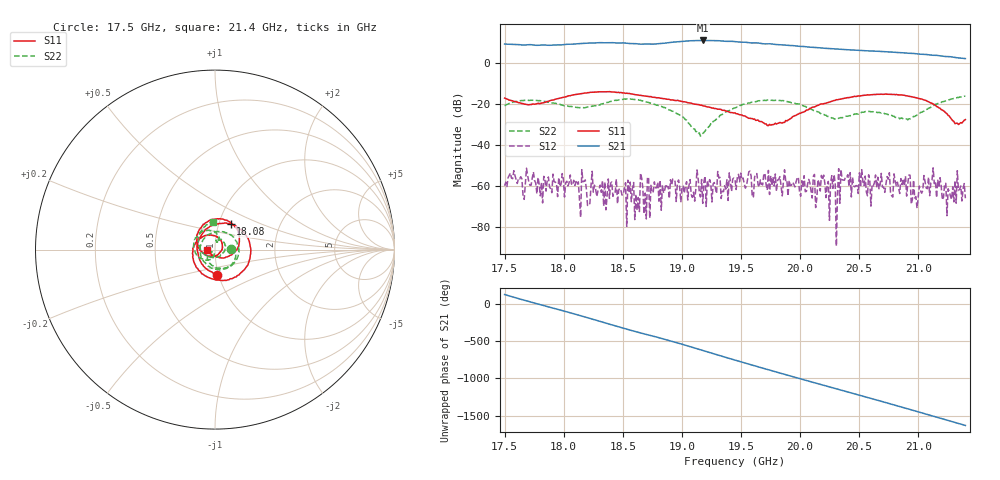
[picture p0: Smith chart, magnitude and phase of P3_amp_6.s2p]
!Created with skrf (http://scikit-rf.org).
# GHz S RI R 50.0
!freq ReS11 ImS11 ReS21 ImS21 ReS12 ImS12 ReS22 ImS22
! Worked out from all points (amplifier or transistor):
!   401 points, 17.5 GHz to 21.4 GHz, reference 50 ohm
!   highest |S21| = 11.0 dB at 19.18 GHz (marker M1)
!   |S21| within 3 dB of that: start of sweep to 20.04 GHz
!   unconditionally stable (mu >= 1): start of sweep to end of sweep
!   at 18.14 GHz: K = 914.88, MAG = 9.7 dB, |S12| = -75.1 dB
!   at 19.45 GHz: K = 99.19, MAG = 10.5 dB, |S12| = -56.5 dB
!   at 21.4 GHz: K = 736.57, MAG = 2.3 dB, |S12| = -65.8 dB
!   S11 on the Smith chart (normalised r, x): 17.5 GHz: 0.99, -0.28; 18.08 GHz: 1.14, +0.33; 21.4 GHz: 0.92, -0.01
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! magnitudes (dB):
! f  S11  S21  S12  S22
! 17.5 GHz  -17.0  9.3  -59.7  -20.8
! 18.08 GHz  -15.5  9.2  -59.5  -21.3
! 18.15 GHz  -14.8  9.6  -51.9  -21.5
! 18.56 GHz  -14.9  9.5  -58.0  -17.5
! 18.62 GHz  -15.4  9.4  -71.6  -17.8
! 18.65 GHz  -15.7  9.2  -53.6  -18.1
! 18.81 GHz  -16.9  9.6  -67.3  -20.9
! 18.92 GHz  -17.9  10.2  -56.4  -23.5
! 19.18 GHz  -20.7  11.0  -68.3  -34.3
! 19.45 GHz  -24.2  10.5  -56.5  -21.8
! 19.74 GHz  -29.8  9.4  -64.0  -17.9
! 20.1 GHz  -21.5  7.7  -65.7  -22.7
! 20.24 GHz  -19.2  7.1  -57.6  -26.0
! 20.28 GHz  -18.4  7.0  -61.0  -26.7
! 20.32 GHz  -17.8  6.8  -63.4  -27.2
! 20.37 GHz  -17.2  6.7  -57.0  -26.4
! 20.76 GHz  -15.1  5.5  -53.4  -25.0
! 20.91 GHz  -16.0  4.9  -58.6  -27.6
! 20.99 GHz  -17.0  4.5  -70.6  -25.3
! 21.13 GHz  -19.9  3.8  -51.0  -20.8
! 21.26 GHz  -25.8  3.2  -62.6  -17.8
! 21.4 GHz  -27.5  2.2  -65.8  -16.1
